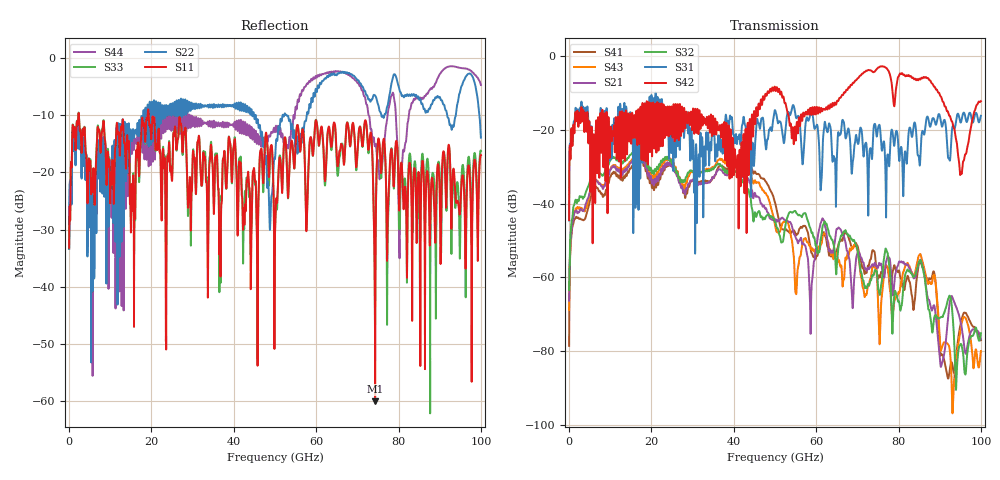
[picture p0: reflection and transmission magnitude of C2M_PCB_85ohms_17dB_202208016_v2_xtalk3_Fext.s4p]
! Info: Touchstone file created by Circ.  Input file=Intel_C2M_200G_5p5in_202208016_staggered.circ
# Hz S RI R 50
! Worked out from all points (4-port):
!   10000 points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, 10 MHz to 100 GHz, reference 50 ohm
!   strongest paths, dB at 10 MHz, 25.01 GHz, 50.01 GHz, 75.01 GHz, 100 GHz:
!     S42: -44.5, -15.6, -8.6, -3.2, -12.3
!     S31: -44.6, -18.6, -14.7, -19.7, -16.2
!     S32: -63.3, -29.2, -45.1, -62.6, -75.2
!     S21: -66.3, -29.8, -44.6, -57.4, -76.8
!     S43: -68.8, -28.9, -45.7, -66.1, -79.9
!     S41: -78.5, -29.6, -39.8, -60.4, -77.0
!   lowest |S11| = -60.1 dB at 74.32 GHz (marker M1), VSWR 1.00, Z = 50 + j0.0977 ohm
!   |S11| at or under -10 dB: start of sweep to 2.233 GHz; 2.385 GHz to 19.07 GHz (16.68 GHz wide, 156 % of centre); 19.35 GHz to end of sweep
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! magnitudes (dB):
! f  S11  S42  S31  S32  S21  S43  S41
! 10 MHz  -33.2  -44.5  -44.6  -63.3  -66.3  -68.8  -78.5
! 1.36 GHz  -12.3  -19.6  -17.4  -39.7  -42.4  -42.4  -44.3
! 16.95 GHz  -20.3  -16.8  -24.8  -25.2  -26.7  -26.4  -27.7
! 40.84 GHz  -28.3  -29.3  -23.1  -31.5  -31.1  -28.1  -28.6
! 74.32 GHz  -60.1  -4.1  -18.5  -58.0  -56.1  -57.3  -54.2
! 95.18 GHz  -23.3  -31.7  -18.0  -78.0  -72.5  -73.3  -72.0
! 100 GHz  -16.9  -12.3  -16.2  -75.2  -76.8  -79.9  -77.0
